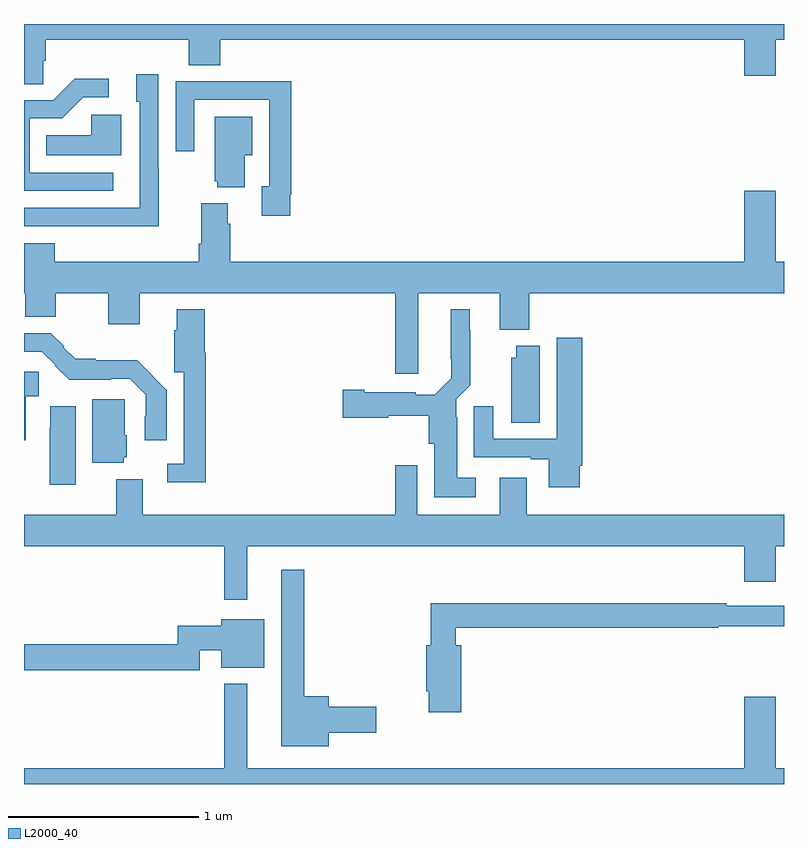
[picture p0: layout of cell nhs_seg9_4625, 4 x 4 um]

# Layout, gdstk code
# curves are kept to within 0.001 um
import gdstk
lib = gdstk.Library(unit=1e-6, precision=1e-09)
def P(c, l, *ps):  # polygons
    for p in ps: c.add(gdstk.Polygon(p, *l))
L2000_40 = (2000, 40)

nhs_seg9_4625 = lib.new_cell('nhs_seg9_4625')
P(nhs_seg9_4625, L2000_40, [(377.1,1200.307),(377.114,1200.307),(377.114,1200.416),(377.867,1200.416),(377.867,1200.283),(378.032,1200.283),(378.032,1200.416),(380.792,1200.416),(380.792,1200.228),(380.956,1200.228),(380.956,1200.416),(381,1200.416),(381,1200.5),(377,1200.5),(377,1200.184),(377.1,1200.184)],
  [(377.709,1199.741),(377.706,1199.741),(377.706,1200.235),(377.591,1200.235),(377.591,1200.09),(377.61,1200.09),(377.61,1199.786),(377.609,1199.786),(377.609,1199.532),(377,1199.532),(377,1199.436),(377.245,1199.436),(377.245,1199.435),(377.709,1199.435)],
  [(377.47,1199.718),(377.031,1199.718),(377.031,1200.003),(377.2,1200.003),(377.311,1200.114),(377.446,1200.114),(377.446,1200.212),(377.267,1200.212),(377.154,1200.099),(377,1200.099),(377,1199.622),(377.47,1199.622)],
  [(378.4,1199.602),(378.407,1199.602),(378.407,1200.2),(378.115,1200.2),(378.115,1200.198),(377.799,1200.198),(377.799,1199.829),(377.895,1199.829),(377.895,1200.102),(378.291,1200.102),(378.291,1199.646),(378.251,1199.646),(378.251,1199.49),(378.4,1199.49)],
  [(377.512,1200.022),(377.355,1200.022),(377.355,1199.914),(377.116,1199.914),(377.116,1199.81),(377.512,1199.81)],
  [(378.163,1199.81),(378.202,1199.81),(378.202,1200.013),(378.005,1200.013),(378.005,1199.673),(378.017,1199.673),(378.017,1199.642),(378.163,1199.642)],
  [(379.075,1199.084),(379.505,1199.084),(379.505,1198.892),(379.658,1198.892),(379.658,1199.084),(381,1199.084),(381,1199.248),(380.956,1199.248),(380.956,1199.623),(380.792,1199.623),(380.792,1199.248),(378.086,1199.248),(378.086,1199.45),(378.073,1199.45),(378.073,1199.557),(377.933,1199.557),(377.933,1199.344),(377.921,1199.344),(377.921,1199.248),(377.162,1199.248),(377.162,1199.347),(377,1199.347),(377,1199.084),(377.006,1199.084),(377.006,1198.958),(377.167,1198.958),(377.167,1199.084),(377.444,1199.084),(377.444,1198.92),(377.608,1198.92),(377.608,1199.084),(378.953,1199.084),(378.953,1198.659),(379.075,1198.659)],
  [(379.378,1198.111),(379.279,1198.111),(379.279,1198.43),(379.275,1198.43),(379.275,1198.524),(379.349,1198.598),(379.349,1198.889),(379.345,1198.889),(379.345,1198.999),(379.247,1198.999),(379.248,1198.636),(379.161,1198.549),(379.062,1198.549),(379.062,1198.561),(378.79,1198.561),(378.79,1198.574),(378.678,1198.574),(378.678,1198.427),(378.918,1198.427),(378.918,1198.439),(379.13,1198.439),(379.13,1198.29),(379.16,1198.29),(379.16,1198.01),(379.378,1198.01)],
  [(377.957,1198.771),(377.951,1198.771),(377.951,1198.999),(377.804,1198.999),(377.804,1198.889),(377.792,1198.889),(377.792,1198.668),(377.841,1198.668),(377.841,1198.185),(377.754,1198.185),(377.754,1198.088),(377.957,1198.088)],
  [(377.752,1198.572),(377.597,1198.729),(377.377,1198.729),(377.377,1198.737),(377.269,1198.737),(377.207,1198.799),(377.211,1198.803),(377.141,1198.873),(377,1198.873),(377,1198.776),(377.094,1198.776),(377.166,1198.704),(377.163,1198.701),(377.237,1198.628),(377.456,1198.628),(377.456,1198.632),(377.556,1198.632),(377.64,1198.548),(377.64,1198.435),(377.636,1198.435),(377.636,1198.308),(377.752,1198.308)],
  [(379.924,1198.174),(379.937,1198.174),(379.937,1198.849),(379.805,1198.849),(379.805,1198.317),(379.471,1198.317),(379.471,1198.489),(379.367,1198.489),(379.367,1198.221),(379.667,1198.221),(379.667,1198.209),(379.763,1198.209),(379.763,1198.062),(379.924,1198.062)],
  [(379.714,1198.807),(379.592,1198.807),(379.592,1198.743),(379.565,1198.743),(379.565,1198.402),(379.714,1198.402)],
  [(377.008,1198.541),(377.077,1198.541),(377.077,1198.67),(377,1198.67),(377,1198.309),(377.008,1198.309)],
  [(377.526,1198.221),(377.542,1198.221),(377.542,1198.335),(377.529,1198.335),(377.529,1198.524),(377.36,1198.524),(377.36,1198.19),(377.526,1198.19)],
  [(377.272,1198.489),(377.138,1198.489),(377.138,1198.376),(377.135,1198.376),(377.135,1198.074),(377.272,1198.074)],
  [(380.792,1197.564),(380.956,1197.564),(380.956,1197.752),(381,1197.752),(381,1197.916),(379.645,1197.916),(379.645,1198.111),(379.505,1198.111),(379.505,1197.916),(379.071,1197.916),(379.071,1198.177),(378.955,1198.177),(378.955,1197.916),(377.626,1197.916),(377.626,1198.105),(377.486,1198.105),(377.486,1197.916),(377,1197.916),(377,1197.752),(378.054,1197.752),(378.054,1197.471),(378.175,1197.471),(378.175,1197.752),(380.792,1197.752)],
  [(378.604,1196.771),(378.853,1196.771),(378.853,1196.906),(378.604,1196.906),(378.604,1196.962),(378.475,1196.962),(378.475,1197.628),(378.353,1197.628),(378.353,1196.699),(378.604,1196.699)],
  [(379.301,1197.229),(379.273,1197.229),(379.273,1197.322),(380.654,1197.322),(380.654,1197.33),(381,1197.33),(381,1197.438),(380.696,1197.438),(380.696,1197.451),(379.141,1197.451),(379.141,1197.229),(379.118,1197.229),(379.118,1196.989),(379.13,1196.989),(379.13,1196.877),(379.301,1196.877)],
  [(377.925,1197.205),(378.038,1197.205),(378.038,1197.113),(378.265,1197.113),(378.265,1197.367),(378.038,1197.367),(378.038,1197.334),(377.809,1197.334),(377.809,1197.236),(377,1197.236),(377,1197.1),(377.925,1197.1)],
  [(381,1196.584),(380.956,1196.584),(380.956,1196.959),(380.792,1196.959),(380.792,1196.584),(378.175,1196.584),(378.175,1197.028),(378.054,1197.028),(378.054,1196.584),(377,1196.584),(377,1196.5),(381,1196.5)])

lib.write_gds('nhs_seg9_4625.gds')
